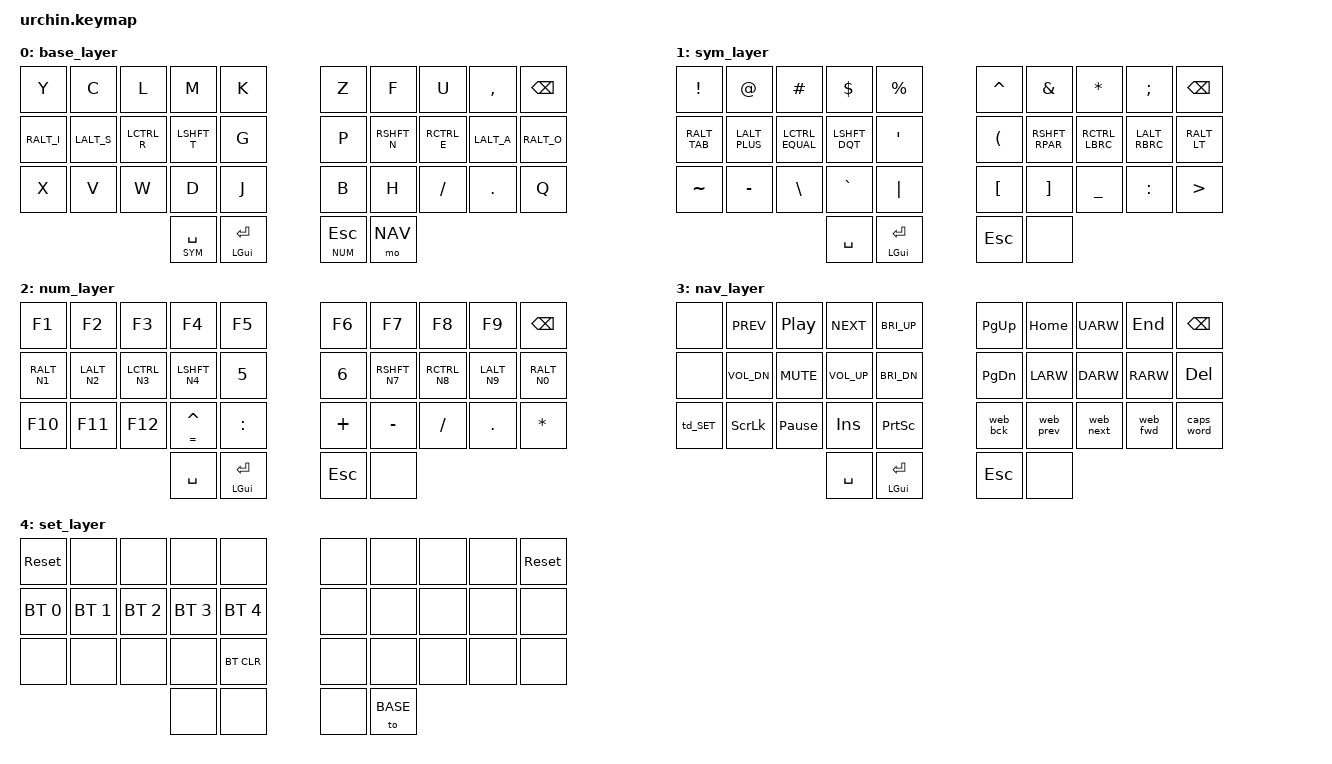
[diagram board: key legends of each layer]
// Copyright (c) 2022 The ZMK Contributors
// SPDX-License-Identifier: MIT

#include <behaviors.dtsi>
#include <dt-bindings/zmk/keys.h>
#include <dt-bindings/zmk/bt.h>

// Layer definitions
#define BASE 0
#define SYM 1
#define NUM 2
#define NAV 3
#define SET 4
// -----------------

// https://zmk.dev/blog#simplifying-position-based-behaviors
//    ╭────────────────┬────────────────╮
//    │  0  1  2  3  4 │  5  6  7  8  9 │
//    │ 10 11 12 13 14 │ 15 16 17 18 19 │
//    │ 20 21 22 23 24 │ 25 26 27 28 29 │
//    ╰────────╮ 30 31 │ 32 33 ╭────────╯
//             ╰───────┴───────╯
#define KEYS_L 0 1 2 3 4 10 11 12 13 14 20 21 22 23 24
#define KEYS_R 5 6 7 8 9 15 16 17 18 19 25 26 27 28 29
#define THUMBS 30 31 32 33

&lt {
    tapping-term-ms = <200>;
    quick-tap-ms = <200>;
};

// The mod-morph allows the tapkey to repeat if MODIFIER is held on other side
// e.g. mm_ht(RCTRL_E, htr_E, RCTRL, E, MOD_LCTL)
#define mm_ht(MODMORPHNAME, MODNAME, MODKEY, TAPKEY, MODIFIER, TRIGGERKEYS)   \
        MODNAME: MODNAME {                                                    \
            compatible = "zmk,behavior-hold-tap";                             \
            #binding-cells = <2>;                                             \
            flavor = "balanced";                                              \
            tapping-term-ms = <280>;                                          \
            quick-tap-ms = <175>;                                             \
            require-prior-idle-ms = <150>;                                    \
            bindings = <&kp>, <&kp>;                                          \
            hold-trigger-key-positions = <TRIGGERKEYS THUMBS>;                \
            hold-trigger-on-release;                                          \
        };                                                                    \
        MODMORPHNAME: MODMORPHNAME {                                          \
            compatible = "zmk,behavior-mod-morph";                            \
            #binding-cells = <0>;                                             \
            bindings = <&MODNAME MODKEY TAPKEY>, <&kp TAPKEY>;                \
            mods = <(MODIFIER)>;                                              \
            keep-mods = <(MODIFIER)>;                                         \
        };

/ {
    behaviors {
        ht: hold_tap {
            compatible = "zmk,behavior-hold-tap";
            #binding-cells = <2>;
            flavor = "balanced";
            tapping-term-ms = <200>;
            quick-tap-ms = <200>;
            require-prior-idle-ms = <125>;
            bindings = <&kp>, <&kp>;
        };

        mm_ht(RALT_I,  htr_I, RALT,  I, MOD_RSFT|MOD_RCTL|MOD_LALT|MOD_RALT, KEYS_R)
        mm_ht(LALT_S,  htr_S, LALT,  S, MOD_RSFT|MOD_RCTL|MOD_LALT|MOD_RALT, KEYS_R)
        mm_ht(LCTRL_R, htr_R, LCTRL, R, MOD_RSFT|MOD_RCTL, KEYS_R)
        mm_ht(LSHFT_T, htr_T, LSHFT, T, MOD_RSFT|MOD_RCTL, KEYS_R)
        mm_ht(RSHFT_N, htr_N, RSHFT, N, MOD_LSFT|MOD_LCTL, KEYS_L)
        mm_ht(RCTRL_E, htr_E, RCTRL, E, MOD_LSFT|MOD_LCTL, KEYS_L)
        mm_ht(LALT_A,  htr_A, LALT,  A, MOD_LSFT|MOD_LCTL|MOD_LALT|MOD_RALT, KEYS_L)
        mm_ht(RALT_O,  htr_O, RALT,  O, MOD_LSFT|MOD_LCTL|MOD_LALT|MOD_RALT, KEYS_L)

        mm_ht(RALT_TAB,    htr_TAB,   RALT,  TAB,   MOD_RSFT|MOD_RCTL|MOD_LALT|MOD_RALT, KEYS_R)
        mm_ht(LALT_PLUS,   htr_PLUS,  LALT,  PLUS,  MOD_RSFT|MOD_RCTL|MOD_LALT|MOD_RALT, KEYS_R)
        mm_ht(LCTRL_EQUAL, htr_EQUAL, LCTRL, EQUAL, MOD_RSFT|MOD_RCTL, KEYS_R)
        mm_ht(LSHFT_DQT,   htr_DOT,   LSHFT, DQT,   MOD_RSFT|MOD_RCTL, KEYS_R)
        mm_ht(RSHFT_RPAR,  htr_RPAR,  RSHFT, RPAR,  MOD_LSFT|MOD_LCTL, KEYS_L)
        mm_ht(RCTRL_LBRC,  htr_LBRC,  RCTRL, LBRC,  MOD_LSFT|MOD_LCTL, KEYS_L)
        mm_ht(LALT_RBRC,   htr_RBRC,  LALT,  RBRC,  MOD_LSFT|MOD_LCTL|MOD_LALT|MOD_RALT, KEYS_L)
        mm_ht(RALT_LT,     htr_LT,    RALT,  LT,    MOD_LSFT|MOD_LCTL|MOD_LALT|MOD_RALT, KEYS_L)

        mm_ht(RALT_N1,  htr_N1, RALT,  N1, MOD_RSFT|MOD_RCTL|MOD_LALT|MOD_RALT, KEYS_R)
        mm_ht(LALT_N2,  htr_N2, LALT,  N2, MOD_RSFT|MOD_RCTL|MOD_LALT|MOD_RALT, KEYS_R)
        mm_ht(LCTRL_N3, htr_N3, LCTRL, N3, MOD_RSFT|MOD_RCTL, KEYS_R)
        mm_ht(LSHFT_N4, htr_N4, LSHFT, N4, MOD_RSFT|MOD_RCTL, KEYS_R)
        mm_ht(RSHFT_N7, htr_N7, RSHFT, N7, MOD_LSFT|MOD_LCTL, KEYS_L)
        mm_ht(RCTRL_N8, htr_N8, RCTRL, N8, MOD_LSFT|MOD_LCTL, KEYS_L)
        mm_ht(LALT_N9,  htr_N9, LALT,  N9, MOD_LSFT|MOD_LCTL|MOD_LALT|MOD_RALT, KEYS_L)
        mm_ht(RALT_N0,  htr_N0, RALT,  N0, MOD_LSFT|MOD_LCTL|MOD_LALT|MOD_RALT, KEYS_L)

        td_SET: tap_dance_SET {
            compatible = "zmk,behavior-tap-dance";
            #binding-cells = <0>;
            tapping-term-ms = <1000>;
            bindings = <&none>, <&none>, <&none>, <&none>, <&to SET>;
        };
    };

    macros {
        euro: euro {
            compatible = "zmk,behavior-macro";
            #binding-cells = <0>;
            bindings
                = <&macro_press &kp RALT>
                , <&macro_tap &kp N5>
                , <&macro_release &kp RALT>
                ;
        };
        web_fwd: web_fwd {
            compatible = "zmk,behavior-macro";
            #binding-cells = <0>;
            bindings
                = <&macro_press &kp LALT>
                , <&macro_tap &kp RARW>
                , <&macro_release &kp LALT>
                ;
        };
        web_bck: web_bck {
            compatible = "zmk,behavior-macro";
            #binding-cells = <0>;
            bindings
                = <&macro_press &kp LALT>
                , <&macro_tap &kp LARW>
                , <&macro_release &kp LALT>
                ;
        };
        web_next: web_next {
            compatible = "zmk,behavior-macro";
            #binding-cells = <0>;
            bindings
                = <&macro_press &kp LCTRL>
                , <&macro_tap &kp TAB>
                , <&macro_release &kp LCTRL>
                ;
        };
        web_prev: web_prev {
            compatible = "zmk,behavior-macro";
            #binding-cells = <0>;
            bindings
                = <&macro_press &kp LCTRL>
                , <&macro_press &kp LSHFT>
                , <&macro_tap &kp TAB>
                , <&macro_release &kp LSHFT>
                , <&macro_release &kp LCTRL>
                ;
        };
        web_addr: web_addr {
            compatible = "zmk,behavior-macro";
            #binding-cells = <0>;
            bindings
                = <&macro_press &kp LCTRL>
                , <&macro_tap &kp L>
                , <&macro_release &kp LCTRL>
                ;
        };
    };

    keymap {
        compatible = "zmk,keymap";
        base_layer {
            bindings = <
        //╭──────────┬──────────┬──────────┬──────────┬──────────╮   ╭──────────┬──────────┬──────────┬──────────┬──────────╮
        //│  Y      0│  C      1│  L      2│  M      3│  K      4│   │  Z      5│  F      6│  U      7│  , <    8│  BSPC   9│
            &kp Y      &kp C      &kp L      &kp M      &kp K          &kp Z      &kp F      &kp U      &kp COMMA  &kp BSPC
        //├──────────┼──────────┼──────────┼──────────┼──────────┤   ├──────────┼──────────┼──────────┼──────────┼──────────┤
        //│  I     10│  S     11│  R     12│  T     13│  G     14│   │  P     15│  N     16│  E     17│  A     18│  O     19│
            &RALT_I    &LALT_S    &LCTRL_R   &LSHFT_T   &kp G          &kp P      &RSHFT_N   &RCTRL_E   &LALT_A    &RALT_O
        //├──────────┼──────────┼──────────┼──────────┼──────────┤   ├──────────┼──────────┼──────────┼──────────┼──────────┤
        //│  X     20│  V     21│  W     22│  D     23│  J     24│   │  B     25│  H     26│ / ?    27│ . >    28│  Q     29│
            &kp X      &kp V      &kp W      &kp D      &kp J          &kp B      &kp H      &kp FSLH   &kp DOT    &kp Q
        //╰──────────┴──────────┼──────────┴─────┬────┴──────────┤   ├──────────┴────┬─────┴──────────┼──────────┴──────────╯
        //                      │              30│             31│   │             32│              33│
                                  &lt SYM SPACE    &ht LGUI ENTER      &lt NUM ESC     &mo NAV
        //                      ╰────────────────┴───────────────╯   ╰───────────────┴────────────────╯
            >;
        };

        sym_layer {
            bindings = <
        //╭──────────┬──────────┬──────────┬──────────┬──────────╮   ╭──────────┬──────────┬──────────┬──────────┬──────────╮
        //│  !       │  @       │  #       │  $       │  %       │   │  ^       │  &       │  *       │  ;       │  BSPC    │
            &kp EXCL   &kp AT     &kp HASH   &kp DLLR   &kp PRCNT      &kp CARET  &kp AMPS   &kp ASTRK  &kp SEMI   &kp BSPC
        //├──────────┼──────────┼──────────┼──────────┼──────────┤   ├──────────┼──────────┼──────────┼──────────┼──────────┤
        //│  TAB     │  +       │  =       │  "       │  '       │   │  (       │  )       │  {       │  }       │  <       │
           &RALT_TAB &LALT_PLUS &LCTRL_EQUAL &LSHFT_DQT &kp APOS       &kp LPAR &RSHFT_RPAR &RCTRL_LBRC &LALT_RBRC &RALT_LT
        //├──────────┼──────────┼──────────┼──────────┼──────────┤   ├──────────┼──────────┼──────────┼──────────┼──────────┤
        //│  ~       │  -       │  \       │  `       │  |       │   │  [       │  ]       │  _       │  :       │  >       │
           &kp TILDE   &kp MINUS  &kp BSLH   &kp GRAVE  &kp PIPE       &kp LBKT   &kp RBKT   &kp UNDER  &kp COLON  &kp GT
        //╰──────────┴──────────┼──────────┴─────┬────┴──────────┤   ├──────────┴────┬─────┴──────────┼──────────┴──────────╯
                                  &kp SPACE        &ht LGUI ENTER      &kp ESC         &none
        //                      ╰────────────────┴───────────────╯   ╰───────────────┴────────────────╯
            >;
        };

        num_layer {
            bindings = <
        //╭──────────┬──────────┬──────────┬──────────┬──────────╮   ╭──────────┬──────────┬──────────┬──────────┬──────────╮
        //│  F1      │  F2      │  F3      │  F4      │  F5      │   │  F6      │  F7      │  F8      │  F9      │  BSPC    │
            &kp F1     &kp F2     &kp F3     &kp F4     &kp F5         &kp F6     &kp F7     &kp F8     &kp F9     &kp BSPC
        //├──────────┼──────────┼──────────┼──────────┼──────────┤   ├──────────┼──────────┼──────────┼──────────┼──────────┤
        //│  1       │  2       │  3       │  4       │  5       │   │  6       │  7       │  8       │  9       │  0       │
            &RALT_N1   &LALT_N2   &LCTRL_N3  &LSHFT_N4  &kp N5         &kp N6     &RSHFT_N7  &RCTRL_N8  &LALT_N9   &RALT_N0
        //├──────────┼──────────┼──────────┼──────────┼──────────┤   ├──────────┼──────────┼──────────┼──────────┼──────────┤
        //│  F10     │  F11     │  F12     │  ^ (=)   │  :       │   │  +       │  -       │  /       │  .       │  *       │
            &kp F10    &kp F11    &kp F12   &ht EQUAL CARET &kp COLON  &kp PLUS   &kp MINUS  &kp FSLH   &kp DOT    &kp ASTRK
        //╰──────────┴──────────┼──────────┴─────┬────┴──────────┤   ├──────────┴────┬─────┴──────────┼──────────┴──────────╯
                                  &kp SPACE        &ht LGUI ENTER      &kp ESC         &none
        //                      ╰────────────────┴───────────────╯   ╰───────────────┴────────────────╯
            >;
        };

        nav_layer {
            bindings = <
        //╭──────────┬──────────┬──────────┬──────────┬──────────╮   ╭──────────┬──────────┬──────────┬──────────┬──────────╮
        //│          │Media prev│Media play│Media next│ BRI INC  │   │ PAGE UP  │ HOME     │ UP       │ END      │  BSPC    │
            &none      &kp C_PREV &kp C_PP   &kp C_NEXT &kp C_BRI_UP   &kp PG_UP  &kp HOME   &kp UARW   &kp END    &kp BSPC
        //├──────────┼──────────┼──────────┼──────────┼──────────┤   ├──────────┼──────────┼──────────┼──────────┼──────────┤
        //│          │ VOL DOWN │ VOL MUTE │ VOL UP   │ BRI DEC  │   │ PAGE DN  │ LEFT     │ DOWN     │ RIGHT    │ DELETE   │
            &none    &kp C_VOL_DN &kp C_MUTE &kp C_VOL_UP &kp C_BRI_DN &kp PG_DN  &kp LARW   &kp DARW   &kp RARW   &kp DEL
        //├──────────┼──────────┼──────────┼──────────┼──────────┤   ├──────────┼──────────┼──────────┼──────────┼──────────┤
        //│ 5x Layer │SCROLL LCK│ PAUSE    │ INSERT   │ PRINT SC │   │ Backwards│ Prev Tab │ Next Tab │ Forward  │ CAPS     │
            &td_SET   &kp SLCK  &kp PAUSE_BREAK &kp INS  &kp PSCRN     &web_bck   &web_prev  &web_next  &web_fwd   &caps_word
        //╰──────────┴──────────┼──────────┴─────┬────┴──────────┤   ├──────────┴────┬─────┴──────────┼──────────┴──────────╯
                                  &kp SPACE        &ht LGUI ENTER      &kp ESC         &none
        //                      ╰────────────────┴───────────────╯   ╰───────────────┴────────────────╯
            >;
        };

        set_layer {
            bindings = <
        //╭──────────┬──────────┬──────────┬──────────┬──────────╮   ╭──────────┬──────────┬──────────┬──────────┬──────────╮
        //│ RESET    │          │          │          │          │   │          │          │          │          │  RESET   │
           &sys_reset  &none      &none      &none      &none          &none      &none      &none      &none      &sys_reset
        //├──────────┼──────────┼──────────┼──────────┼──────────┤   ├──────────┼──────────┼──────────┼──────────┼──────────┤
        //│PROFILE 1 │PROFILE 2 │PROFILE 3 │PROFILE 4 │PROFILE 5 │   │          │          │          │          │          │
     &bt BT_SEL 0 &bt BT_SEL 1 &bt BT_SEL 2 &bt BT_SEL 3 &bt BT_SEL 4  &none      &none      &none      &none      &none
        //├──────────┼──────────┼──────────┼──────────┼──────────┤   ├──────────┼──────────┼──────────┼──────────┼──────────┤
        //│          │          │          │          │ CLEAR BT │   │          │          │          │          │          │
            &none      &none      &none      &none     &bt BT_CLR      &none      &none      &none      &none      &none
        //╰──────────┴──────────┼──────────┴─────┬────┴──────────┤   ├──────────┴────┬─────┴──────────┼──────────┴──────────╯
                                  &none            &none               &none           &to BASE
        //                      ╰────────────────┴───────────────╯   ╰───────────────┴────────────────╯
            >;
        };
    };
};
